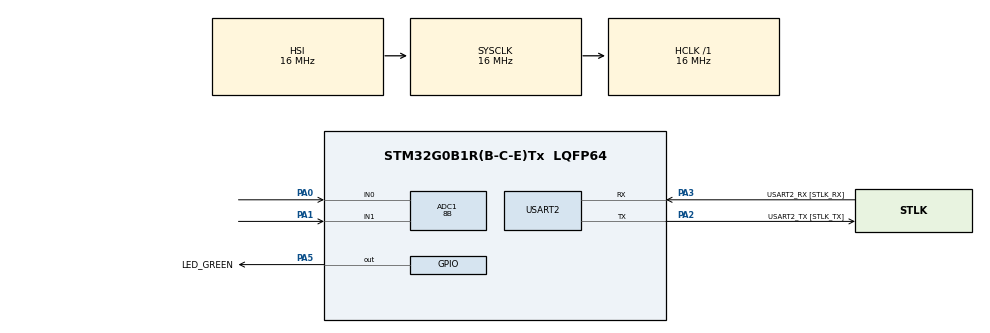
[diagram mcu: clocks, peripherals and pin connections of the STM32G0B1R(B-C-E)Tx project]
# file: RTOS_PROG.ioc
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ADC1.Channel-0\#ChannelRegularConversion=ADC_CHANNEL_0
ADC1.Channel-1\#ChannelRegularConversion=ADC_CHANNEL_0
ADC1.ContinuousConvMode=DISABLE
ADC1.DMAContinuousRequests=ENABLE
ADC1.NbrOfConversion=2
ADC1.NbrOfConversionFlag=1
ADC1.Rank-0\#ChannelRegularConversion=1
ADC1.Rank-1\#ChannelRegularConversion=2
ADC1.Resolution=ADC_RESOLUTION_8B
ADC1.SamplingTime-0\#ChannelRegularConversion=ADC_SAMPLINGTIME_COMMON_1
ADC1.SamplingTime-1\#ChannelRegularConversion=ADC_SAMPLINGTIME_COMMON_1
ADC1.SelectedChannel=ADC_CHANNEL_0|ADC_CHANNEL_1
ADC1.master=1
Dma.ADC1.0.Direction=DMA_PERIPH_TO_MEMORY
Dma.ADC1.0.EventEnable=DISABLE
Dma.ADC1.0.Instance=DMA1_Channel1
Dma.ADC1.0.MemDataAlignment=DMA_MDATAALIGN_HALFWORD
Dma.ADC1.0.MemInc=DMA_MINC_ENABLE
Dma.ADC1.0.Mode=DMA_CIRCULAR
Dma.ADC1.0.PeriphDataAlignment=DMA_PDATAALIGN_HALFWORD
Dma.ADC1.0.PeriphInc=DMA_PINC_DISABLE
Dma.ADC1.0.Polarity=HAL_DMAMUX_REQ_GEN_RISING
Dma.ADC1.0.Priority=DMA_PRIORITY_LOW
Dma.ADC1.0.RequestNumber=1
Dma.ADC1.0.SignalID=NONE
Dma.ADC1.0.SyncEnable=DISABLE
Dma.ADC1.0.SyncPolarity=HAL_DMAMUX_SYNC_NO_EVENT
Dma.ADC1.0.SyncRequestNumber=1
Dma.ADC1.0.SyncSignalID=NONE
Dma.Request0=ADC1
FREERTOS.Tasks01=defaultTask,24,128,StartDefaultTask,Default,NULL,Dynamic,NULL,NULL
FREERTOS.configUSE_NEWLIB_REENTRANT=1
Mcu.Family=STM32G0
Mcu.Name=STM32G0B1R(B-C-E)Tx
Mcu.Package=LQFP64
NVIC.DMA1_Channel1_IRQn=true\:3\:0\:false\:false\:true\:true\:false\:true\:true
NVIC.TIM1_BRK_UP_TRG_COM_IRQn=true\:3\:0\:false\:false\:true\:false\:false\:true\:true
NVIC.TimeBase=TIM1_BRK_UP_TRG_COM_IRQn
NVIC.TimeBaseIP=TIM1
PA0.Mode=IN0
PA0.Signal=ADC1_IN0
PA1.Mode=IN1
PA1.Signal=ADC1_IN1
PA13.GPIO_Label=TMS
PA13.Mode=Serial_Wire
PA13.Signal=SYS_SWDIO
PA14-BOOT0.GPIO_Label=TCK
PA14-BOOT0.Mode=Serial_Wire
PA14-BOOT0.Signal=SYS_SWCLK
PA2.GPIO_Label=USART2_TX [STLK_TX]
PA2.Mode=Asynchronous
PA2.Signal=USART2_TX
PA3.GPIO_Label=USART2_RX [STLK_RX]
PA3.Mode=Asynchronous
PA3.Signal=USART2_RX
PA5.GPIO_Label=LED_GREEN
PA5.GPIO_Speed=GPIO_SPEED_FREQ_HIGH
PA5.Signal=GPIO_Output
PC13.Mode=SYS_WakeUp1
PC13.Signal=SYS_WKUP2
PC14-OSC32_IN\ (PC14).Mode=LSE-External-Oscillator
PC14-OSC32_IN\ (PC14).Signal=RCC_OSC32_IN
PC15-OSC32_OUT\ (PC15).Mode=LSE-External-Oscillator
PC15-OSC32_OUT\ (PC15).Signal=RCC_OSC32_OUT
PF0-OSC_IN\ (PF0).GPIO_Label=MCO
PF0-OSC_IN\ (PF0).Mode=HSE-External-Clock-Source
PF0-OSC_IN\ (PF0).Signal=RCC_OSC_IN
ProjectManager.HeapSize=0x200
ProjectManager.StackSize=0x400
ProjectManager.TargetToolchain=STM32CubeIDE
RCC.AHBFreq_Value=16000000
RCC.CortexFreq_Value=16000000
RCC.EXTERNAL_CLOCK_VALUE=12288000
RCC.HCLKFreq_Value=16000000
RCC.HSE_VALUE=8000000
RCC.HSI48_VALUE=48000000
RCC.HSI_VALUE=16000000
RCC.SYSCLKFreq_VALUE=16000000
RCC.USBFreq_Value=48000000
RCC.VCOOutputFreq_Value=128000000
USART2.VirtualMode-Asynchronous=VM_ASYNC
VP_FREERTOS_VS_CMSIS_V2.Mode=CMSIS_V2
VP_SYS_VS_tim1.Mode=TIM1
board=NUCLEO-G0B1RE

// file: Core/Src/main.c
/* USER CODE BEGIN Header */
/**
  ******************************************************************************
  * @file           : main.c
  * @brief          : Main program body
  ******************************************************************************
  * @attention
  *
  * Copyright (c) 2024 STMicroelectronics.
  * All rights reserved.
  *
  * This software is licensed under terms that can be found in the LICENSE file
  * in the root directory of this software component.
  * If no LICENSE file comes with this software, it is provided AS-IS.
  *
  ******************************************************************************
  */
/* USER CODE END Header */
#include "main.h"
#include "cmsis_os.h"

/* USER CODE BEGIN Includes */
#include <stdio.h>
#include <string.h>

/* USER CODE END Includes */

ADC_HandleTypeDef hadc1;
DMA_HandleTypeDef hdma_adc1;

UART_HandleTypeDef huart2;

/* Definitions for defaultTask */
osThreadId_t defaultTaskHandle;
const osThreadAttr_t defaultTask_attributes = {
  .name = "defaultTask",
  .priority = (osPriority_t) osPriorityNormal,
  .stack_size = 128 * 4
};
/* USER CODE BEGIN PV */
osThreadId_t task1Handle;
const osThreadAttr_t Task1_attributes = {
  .name = "Task1",
  .priority = (osPriority_t) osPriorityNormal,
  .stack_size = 128 * 4
};

/* USER CODE END PV */

void SystemClock_Config(void);
static void MX_GPIO_Init(void);
static void MX_DMA_Init(void);
static void MX_USART2_UART_Init(void);
static void MX_ADC1_Init(void);
void StartDefaultTask(void *argument);

/* USER CODE BEGIN PFP */
void StartTask1(void *argument);

volatile uint16_t adcResultsDMA[2];
const int adcChannelCount = sizeof (adcResultsDMA) / sizeof (adcResultsDMA[0]);
volatile int adcConversionComplete = 0; // set by callback
#define TXBUFLEN	20
char txBuf[TXBUFLEN];
/* USER CODE END PFP */

int main(void)
{

  /* MCU Configuration--------------------------------------------------------*/

  /* Reset of all peripherals, Initializes the Flash interface and the Systick. */
  HAL_Init();

  /* Configure the system clock */
  SystemClock_Config();

  /* Initialize all configured peripherals */
  MX_GPIO_Init();
  MX_DMA_Init();
  MX_USART2_UART_Init();
  MX_ADC1_Init();

  /* Init scheduler */
  osKernelInitialize();

  /* Create the thread(s) */
  /* creation of defaultTask */
  defaultTaskHandle = osThreadNew(StartDefaultTask, NULL, &defaultTask_attributes);

  /* USER CODE BEGIN RTOS_THREADS */
  task1Handle = osThreadNew(StartTask1, NULL, &Task1_attributes);
  /* add threads, ... */
  /* USER CODE END RTOS_THREADS */

  /* Start scheduler */
  osKernelStart();

  /* We should never get here as control is now taken by the scheduler */
  /* Infinite loop */
  while (1)
  {

  }
}

void SystemClock_Config(void)
{
  RCC_OscInitTypeDef RCC_OscInitStruct = {0};
  RCC_ClkInitTypeDef RCC_ClkInitStruct = {0};

  /** Configure the main internal regulator output voltage
  */
  HAL_PWREx_ControlVoltageScaling(PWR_REGULATOR_VOLTAGE_SCALE1);

  /** Initializes the RCC Oscillators according to the specified parameters
  * in the RCC_OscInitTypeDef structure.
  */
  RCC_OscInitStruct.OscillatorType = RCC_OSCILLATORTYPE_HSI;
  RCC_OscInitStruct.HSIState = RCC_HSI_ON;
  RCC_OscInitStruct.HSIDiv = RCC_HSI_DIV1;
  RCC_OscInitStruct.HSICalibrationValue = RCC_HSICALIBRATION_DEFAULT;
  RCC_OscInitStruct.PLL.PLLState = RCC_PLL_NONE;
  if (HAL_RCC_OscConfig(&RCC_OscInitStruct) != HAL_OK)
  {
    Error_Handler();
  }

  /** Initializes the CPU, AHB and APB buses clocks
  */
  RCC_ClkInitStruct.ClockType = RCC_CLOCKTYPE_HCLK|RCC_CLOCKTYPE_SYSCLK
                              |RCC_CLOCKTYPE_PCLK1;
  RCC_ClkInitStruct.SYSCLKSource = RCC_SYSCLKSOURCE_HSI;
  RCC_ClkInitStruct.AHBCLKDivider = RCC_SYSCLK_DIV1;
  RCC_ClkInitStruct.APB1CLKDivider = RCC_HCLK_DIV1;

  if (HAL_RCC_ClockConfig(&RCC_ClkInitStruct, FLASH_LATENCY_0) != HAL_OK)
  {
    Error_Handler();
  }
}

static void MX_ADC1_Init(void)
{

  ADC_ChannelConfTypeDef sConfig = {0};

  /** Configure the global features of the ADC (Clock, Resolution, Data Alignment and number of conversion)
  */
  hadc1.Instance = ADC1;
  hadc1.Init.ClockPrescaler = ADC_CLOCK_SYNC_PCLK_DIV2;
  hadc1.Init.Resolution = ADC_RESOLUTION_8B;
  hadc1.Init.DataAlign = ADC_DATAALIGN_RIGHT;
  hadc1.Init.ScanConvMode = ADC_SCAN_ENABLE;
  hadc1.Init.EOCSelection = ADC_EOC_SINGLE_CONV;
  hadc1.Init.LowPowerAutoWait = DISABLE;
  hadc1.Init.LowPowerAutoPowerOff = DISABLE;
  hadc1.Init.ContinuousConvMode = DISABLE;
  hadc1.Init.NbrOfConversion = 2;
  hadc1.Init.DiscontinuousConvMode = DISABLE;
  hadc1.Init.ExternalTrigConv = ADC_SOFTWARE_START;
  hadc1.Init.ExternalTrigConvEdge = ADC_EXTERNALTRIGCONVEDGE_NONE;
  hadc1.Init.DMAContinuousRequests = ENABLE;
  hadc1.Init.Overrun = ADC_OVR_DATA_PRESERVED;
  hadc1.Init.SamplingTimeCommon1 = ADC_SAMPLETIME_1CYCLE_5;
  hadc1.Init.SamplingTimeCommon2 = ADC_SAMPLETIME_1CYCLE_5;
  hadc1.Init.OversamplingMode = DISABLE;
  hadc1.Init.TriggerFrequencyMode = ADC_TRIGGER_FREQ_HIGH;
  if (HAL_ADC_Init(&hadc1) != HAL_OK)
  {
    Error_Handler();
  }

  /** Configure Regular Channel
  */
  sConfig.Channel = ADC_CHANNEL_0;
  sConfig.Rank = ADC_REGULAR_RANK_1;
  sConfig.SamplingTime = ADC_SAMPLINGTIME_COMMON_1;
  if (HAL_ADC_ConfigChannel(&hadc1, &sConfig) != HAL_OK)
  {
    Error_Handler();
  }

  /** Configure Regular Channel
  */
  sConfig.Rank = ADC_REGULAR_RANK_1;
  if (HAL_ADC_ConfigChannel(&hadc1, &sConfig) != HAL_OK)
  {
    Error_Handler();
  }

  /* USER CODE BEGIN ADC1_Init 2 */
  // configuration for channel two
  sConfig.Channel = ADC_CHANNEL_1;
  sConfig.Rank = ADC_REGULAR_RANK_2;
  sConfig.SamplingTime = ADC_SAMPLINGTIME_COMMON_1;
  if (HAL_ADC_ConfigChannel(&hadc1, &sConfig) != HAL_OK)
  {
    Error_Handler();
  }

  /** Configure Regular Channel
  */
  sConfig.Rank = ADC_REGULAR_RANK_2;
  if (HAL_ADC_ConfigChannel(&hadc1, &sConfig) != HAL_OK)
  {
    Error_Handler();
  }

  /* USER CODE END ADC1_Init 2 */

}

static void MX_USART2_UART_Init(void)
{

  huart2.Instance = USART2;
  huart2.Init.BaudRate = 115200;
  huart2.Init.WordLength = UART_WORDLENGTH_8B;
  huart2.Init.StopBits = UART_STOPBITS_1;
  huart2.Init.Parity = UART_PARITY_NONE;
  huart2.Init.Mode = UART_MODE_TX_RX;
  huart2.Init.HwFlowCtl = UART_HWCONTROL_NONE;
  huart2.Init.OverSampling = UART_OVERSAMPLING_16;
  huart2.Init.OneBitSampling = UART_ONE_BIT_SAMPLE_DISABLE;
  huart2.Init.ClockPrescaler = UART_PRESCALER_DIV1;
  huart2.AdvancedInit.AdvFeatureInit = UART_ADVFEATURE_NO_INIT;
  if (HAL_UART_Init(&huart2) != HAL_OK)
  {
    Error_Handler();
  }
  if (HAL_UARTEx_SetTxFifoThreshold(&huart2, UART_TXFIFO_THRESHOLD_1_8) != HAL_OK)
  {
    Error_Handler();
  }
  if (HAL_UARTEx_SetRxFifoThreshold(&huart2, UART_RXFIFO_THRESHOLD_1_8) != HAL_OK)
  {
    Error_Handler();
  }
  if (HAL_UARTEx_DisableFifoMode(&huart2) != HAL_OK)
  {
    Error_Handler();
  }

}

static void MX_DMA_Init(void)
{

  /* DMA controller clock enable */
  __HAL_RCC_DMA1_CLK_ENABLE();

  /* DMA interrupt init */
  /* DMA1_Channel1_IRQn interrupt configuration */
  HAL_NVIC_SetPriority(DMA1_Channel1_IRQn, 3, 0);
  HAL_NVIC_EnableIRQ(DMA1_Channel1_IRQn);

}

static void MX_GPIO_Init(void)
{
  GPIO_InitTypeDef GPIO_InitStruct = {0};

  /* GPIO Ports Clock Enable */
  __HAL_RCC_GPIOC_CLK_ENABLE();
  __HAL_RCC_GPIOF_CLK_ENABLE();
  __HAL_RCC_GPIOA_CLK_ENABLE();

  /*Configure GPIO pin Output Level */
  HAL_GPIO_WritePin(LED_GREEN_GPIO_Port, LED_GREEN_Pin, GPIO_PIN_RESET);

  /*Configure GPIO pin : LED_GREEN_Pin */
  GPIO_InitStruct.Pin = LED_GREEN_Pin;
  GPIO_InitStruct.Mode = GPIO_MODE_OUTPUT_PP;
  GPIO_InitStruct.Pull = GPIO_NOPULL;
  GPIO_InitStruct.Speed = GPIO_SPEED_FREQ_HIGH;
  HAL_GPIO_Init(LED_GREEN_GPIO_Port, &GPIO_InitStruct);

}

/* USER CODE BEGIN 4 */

void HAL_ADC_ConvCpltCallback(ADC_HandleTypeDef *hadc)
{

  adcConversionComplete = 1; // conversion complete
}

void StartTask1(void *argument){

	char msg[] = "Hello world";
//	HAL_ADC_Start_DMA(&hadc1, (uint32_t *)adcResultsDMA, adcChannelCount);

	/* Infinite loop */
	for(;;)
	{

		HAL_ADC_Start_DMA(&hadc1, (uint32_t *)adcResultsDMA, adcChannelCount);
		while (adcConversionComplete == 0)
			;
		adcConversionComplete = 0;

		snprintf(txBuf, (size_t)TXBUFLEN, "CH1= %d\tCH2 = %d\r\n", adcResultsDMA[0], adcResultsDMA[1]);
		HAL_UART_Transmit(&huart2, (uint8_t *)txBuf, strlen(txBuf), HAL_MAX_DELAY);
//		HAL_UART_Transmit(&huart2, (uint8_t *)msg, strlen(msg), HAL_MAX_DELAY);
		osDelay(1);
	}

}

/* USER CODE END 4 */

void StartDefaultTask(void *argument)
{
  /* USER CODE BEGIN 5 */
	char msg[] = "Hello world";
	// HAL_ADC_Start_DMA(&hadc1, (uint32_t *)adcResultsDMA, adcChannelCount);

  /* Infinite loop */
  for(;;)
  {

//	  while(adcConversionComplete == 0); // wait for conversion to complete
	  //adcConversionComplete = 0;
	  //snprintf(txBuf, TXBUFLEN, "CH1 = %d\tCH2 = %d\r\n", adcResultsDMA[0], adcResultsDMA[1]);
	HAL_UART_Transmit(&huart2, (uint8_t *)msg, strlen(msg), HAL_MAX_DELAY);
    osDelay(1);
  }
  /* USER CODE END 5 */
}

void HAL_TIM_PeriodElapsedCallback(TIM_HandleTypeDef *htim)
{
  if (htim->Instance == TIM1) {
    HAL_IncTick();
  }
}

void Error_Handler(void)
{
  __disable_irq();
  while (1)
  {
  }
}
